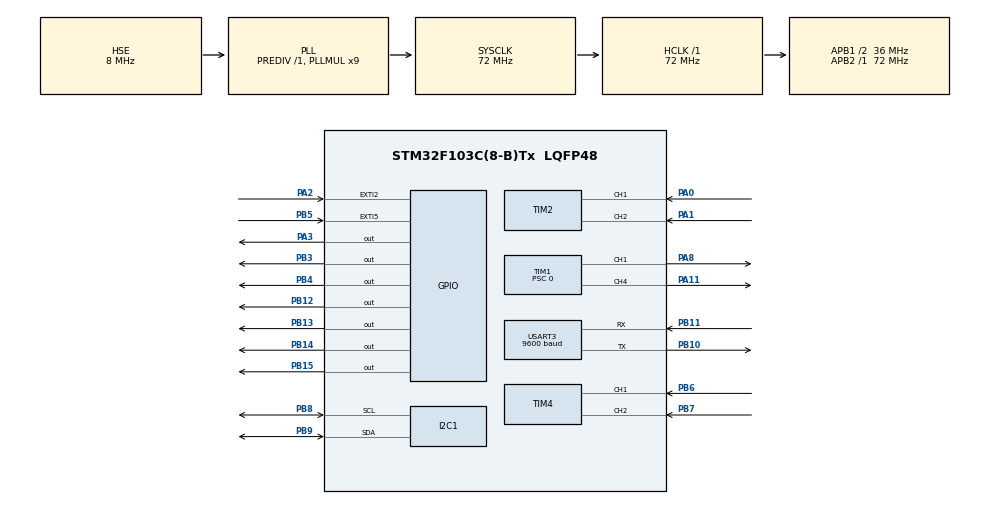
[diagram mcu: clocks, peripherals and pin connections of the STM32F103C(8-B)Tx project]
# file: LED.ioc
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Mcu.Family=STM32F1
Mcu.Name=STM32F103C(8-B)Tx
Mcu.Package=LQFP48
NVIC.EXTI2_IRQn=true\:0\:0\:false\:false\:true\:true\:true
NVIC.EXTI9_5_IRQn=true\:0\:0\:false\:false\:true\:true\:true
NVIC.PriorityGroup=NVIC_PRIORITYGROUP_4
NVIC.USART3_IRQn=true\:0\:0\:false\:false\:true\:true\:true
PA0-WKUP.Signal=S_TIM2_CH1_ETR
PA1.Signal=S_TIM2_CH2
PA11.Signal=S_TIM1_CH4
PA13.Mode=Serial_Wire
PA13.Signal=SYS_JTMS-SWDIO
PA14.Mode=Serial_Wire
PA14.Signal=SYS_JTCK-SWCLK
PA2.GPIO_ModeDefaultEXTI=GPIO_MODE_IT_RISING_FALLING
PA2.Signal=GPXTI2
PA3.GPIO_Speed=GPIO_SPEED_FREQ_HIGH
PA3.PinState=GPIO_PIN_RESET
PA3.Signal=GPIO_Output
PA8.Signal=S_TIM1_CH1
PB10.Mode=Asynchronous
PB10.Signal=USART3_TX
PB11.Mode=Asynchronous
PB11.Signal=USART3_RX
PB12.Signal=GPIO_Output
PB13.Signal=GPIO_Output
PB14.Signal=GPIO_Output
PB15.Signal=GPIO_Output
PB3.Signal=GPIO_Output
PB4.Signal=GPIO_Output
PB5.GPIO_ModeDefaultEXTI=GPIO_MODE_IT_FALLING
PB5.GPIO_PuPd=GPIO_PULLUP
PB5.Signal=GPXTI5
PB6.Signal=S_TIM4_CH1
PB7.Signal=S_TIM4_CH2
PB8.Mode=I2C
PB8.Signal=I2C1_SCL
PB9.Mode=I2C
PB9.Signal=I2C1_SDA
PC14-OSC32_IN.Mode=LSE-External-Oscillator
PC14-OSC32_IN.Signal=RCC_OSC32_IN
PC15-OSC32_OUT.Mode=LSE-External-Oscillator
PC15-OSC32_OUT.Signal=RCC_OSC32_OUT
PD0-OSC_IN.Mode=HSE-External-Oscillator
PD0-OSC_IN.Signal=RCC_OSC_IN
PD1-OSC_OUT.Mode=HSE-External-Oscillator
PD1-OSC_OUT.Signal=RCC_OSC_OUT
ProjectManager.HeapSize=0x200
ProjectManager.StackSize=0x400
ProjectManager.TargetToolchain=MDK-ARM V5.32
RCC.AHBFreq_Value=72000000
RCC.APB1CLKDivider=RCC_HCLK_DIV2
RCC.APB1Freq_Value=36000000
RCC.APB1TimFreq_Value=72000000
RCC.APB2Freq_Value=72000000
RCC.APB2TimFreq_Value=72000000
RCC.HCLKFreq_Value=72000000
RCC.PLLMUL=RCC_PLL_MUL9
RCC.PLLSourceVirtual=RCC_PLLSOURCE_HSE
RCC.SYSCLKFreq_VALUE=72000000
RCC.SYSCLKSource=RCC_SYSCLKSOURCE_PLLCLK
RCC.USBFreq_Value=72000000
SH.S_TIM1_CH1.0=TIM1_CH1,PWM Generation1 CH1
SH.S_TIM1_CH4.0=TIM1_CH4,PWM Generation4 CH4
SH.S_TIM2_CH1_ETR.0=TIM2_CH1,Encoder_Interface
SH.S_TIM2_CH2.0=TIM2_CH2,Encoder_Interface
SH.S_TIM4_CH1.0=TIM4_CH1,Encoder_Interface
SH.S_TIM4_CH2.0=TIM4_CH2,Encoder_Interface
TIM1.Channel-PWM\ Generation1\ CH1=TIM_CHANNEL_1
TIM1.Channel-PWM\ Generation4\ CH4=TIM_CHANNEL_4
TIM1.Period=7199
TIM1.Prescaler=0
TIM1.Pulse-PWM\ Generation1\ CH1=7200
TIM1.Pulse-PWM\ Generation4\ CH4=7200
TIM2.EncoderMode=TIM_ENCODERMODE_TI12
TIM3.Prescaler=71
TIM4.EncoderMode=TIM_ENCODERMODE_TI12
USART3.BaudRate=9600
USART3.VirtualMode=VM_ASYNC
VP_TIM3_VS_ClockSourceINT.Mode=Internal
board=custom

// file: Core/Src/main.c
/* USER CODE BEGIN Header */
/**
  ******************************************************************************
  * @file           : main.c
  * @brief          : Main program body
  ******************************************************************************
  * @attention
  *
  * <h2><center>&copy; Copyright (c) 2025 STMicroelectronics.
  * All rights reserved.</center></h2>
  *
  * This software component is licensed by ST under BSD 3-Clause license,
  * the "License"; You may not use this file except in compliance with the
  * License. You may obtain a copy of the License at:
  *                        opensource.org/licenses/BSD-3-Clause
  *
  ******************************************************************************
  */
/* USER CODE END Header */
#include "main.h"
#include "i2c.h"
#include "tim.h"
#include "usart.h"
#include "gpio.h"

/* USER CODE BEGIN Includes */
#include "stdio.h"
#include "oled.h"
#include "IIC.h"
#include "inv_mpu.h"
#include "inv_mpu_dmp_motion_driver.h"
#include "mpu6050.h"
#include "sr04.h"
#include "motor.h"
#include "encoder.h"
/* USER CODE END Includes */

/* USER CODE BEGIN PV */

uint8_t display_buf[20];
extern float distance;
extern uint8_t rx_buf[2];
uint32_t sys_tic = 0;

extern float roll;
extern short gyrox;
extern int Encoder_Left, Encoder_Right;

/* USER CODE END PV */

void SystemClock_Config(void);
/* USER CODE BEGIN PFP */
void Read(void);
/* USER CODE END PFP */

int main(void)
{

  /* MCU Configuration--------------------------------------------------------*/

  /* Reset of all peripherals, Initializes the Flash interface and the Systick. */
  HAL_Init();

  /* Configure the system clock */
  SystemClock_Config();

  /* Initialize all configured peripherals */
  MX_GPIO_Init();
  MX_I2C1_Init();
  MX_TIM3_Init();
  MX_TIM1_Init();
  MX_TIM2_Init();
  MX_TIM4_Init();
  MX_USART3_UART_Init();
  /* USER CODE BEGIN 2 */
	OLED_Init();
	OLED_Clear();
	MPU_Init();
	mpu_dmp_init();

	OLED_ShowString(0,0, "Init success",16);

	HAL_NVIC_SetPriority(EXTI9_5_IRQn, 0, 0);
	HAL_NVIC_EnableIRQ(EXTI9_5_IRQn);

	HAL_TIM_PWM_Start(&htim1, TIM_CHANNEL_1);
	HAL_TIM_PWM_Start(&htim1, TIM_CHANNEL_4);
	HAL_TIM_Encoder_Start(&htim2, TIM_CHANNEL_ALL);
	HAL_TIM_Encoder_Start(&htim4, TIM_CHANNEL_ALL);
	HAL_UART_Receive_IT(&huart3, rx_buf, 1);
	Load(0, 0);
	OLED_Clear();

  /* USER CODE END 2 */

  /* Infinite loop */
  /* USER CODE BEGIN WHILE */
  while (1)
  {
//		sprintf((char *)display_buf, "Init:%d   ", MPU_Init());
//		OLED_ShowString(0, 0, display_buf, 16);
//		sprintf((char *)display_buf, "ADDR:%d   ", MPU_ADDR);
//		OLED_ShowString(0, 2, display_buf, 16);
//		sprintf((char *)display_buf, "REG:%d   ", MPU_DEVICE_ID_REG);
//		OLED_ShowString(0, 4, display_buf, 16);
//		sprintf((char *)display_buf, "READ:%d   ", MPU_Read_Byte(MPU_DEVICE_ID_REG));
//		OLED_ShowString(0, 6, display_buf, 16);

		sprintf((char *)display_buf, "Encoder_L:%d   ", Encoder_Left);
		OLED_ShowString(0, 0, display_buf, 16);
		sprintf((char *)display_buf, "Encoder_R:%d   ", Encoder_Right);
		OLED_ShowString(0, 2, display_buf, 16);
		sprintf((char *)display_buf, "roll:%.1f   ", roll);
		OLED_ShowString(0, 4, display_buf, 16);
		Get_Dist();
		sprintf((char *)display_buf, "distance:%.1f   ", distance);
		OLED_ShowString(0, 6, display_buf, 12);
    /* USER CODE END WHILE */

  }
}

void SystemClock_Config(void)
{
  RCC_OscInitTypeDef RCC_OscInitStruct = {0};
  RCC_ClkInitTypeDef RCC_ClkInitStruct = {0};

  /** Initializes the RCC Oscillators according to the specified parameters
  * in the RCC_OscInitTypeDef structure.
  */
  RCC_OscInitStruct.OscillatorType = RCC_OSCILLATORTYPE_HSE;
  RCC_OscInitStruct.HSEState = RCC_HSE_ON;
  RCC_OscInitStruct.HSEPredivValue = RCC_HSE_PREDIV_DIV1;
  RCC_OscInitStruct.HSIState = RCC_HSI_ON;
  RCC_OscInitStruct.PLL.PLLState = RCC_PLL_ON;
  RCC_OscInitStruct.PLL.PLLSource = RCC_PLLSOURCE_HSE;
  RCC_OscInitStruct.PLL.PLLMUL = RCC_PLL_MUL9;
  if (HAL_RCC_OscConfig(&RCC_OscInitStruct) != HAL_OK)
  {
    Error_Handler();
  }
  /** Initializes the CPU, AHB and APB buses clocks
  */
  RCC_ClkInitStruct.ClockType = RCC_CLOCKTYPE_HCLK|RCC_CLOCKTYPE_SYSCLK
                              |RCC_CLOCKTYPE_PCLK1|RCC_CLOCKTYPE_PCLK2;
  RCC_ClkInitStruct.SYSCLKSource = RCC_SYSCLKSOURCE_PLLCLK;
  RCC_ClkInitStruct.AHBCLKDivider = RCC_SYSCLK_DIV1;
  RCC_ClkInitStruct.APB1CLKDivider = RCC_HCLK_DIV2;
  RCC_ClkInitStruct.APB2CLKDivider = RCC_HCLK_DIV1;

  if (HAL_RCC_ClockConfig(&RCC_ClkInitStruct, FLASH_LATENCY_2) != HAL_OK)
  {
    Error_Handler();
  }
}

/* USER CODE BEGIN 4 */
void Read(void)
{
	if(uwTick-sys_tic<10)
		return;
	sys_tic=uwTick;
	Encoder_Left = Read_Speed(&htim2);
	Encoder_Right = -Read_Speed(&htim4);
}
/* USER CODE END 4 */

void Error_Handler(void)
{
  __disable_irq();
  while (1)
  {
  }
}

/************************ (C) COPYRIGHT STMicroelectronics *****END OF FILE****/
